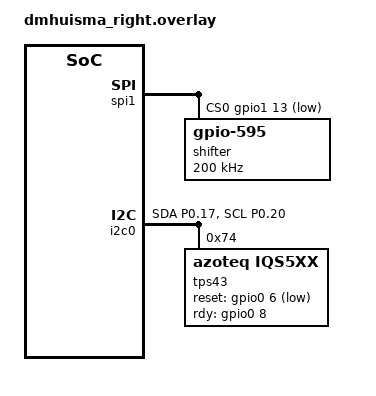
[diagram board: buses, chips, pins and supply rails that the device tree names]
#include "dmhuisma.dtsi"

&default_transform { // Offset of 8 because the left side has 8 columns
    col-offset = <8>;
};

/ {

    kscan0: kscan_composite {
        wakeup-source;
        // matrix driver
        matrix {
            kscan = <&kscan1>;
        };
    };

    kscan1: kscan1 {
        status = "okay";

        col-gpios
            = <&shifter 0   (GPIO_ACTIVE_HIGH)>
            , <&gpio1   6   (GPIO_ACTIVE_HIGH)>         // so we can wake from deep sleep
            , <&shifter 2   (GPIO_ACTIVE_HIGH)>
            , <&shifter 3   (GPIO_ACTIVE_HIGH)>
            , <&shifter 4   (GPIO_ACTIVE_HIGH)>
            , <&shifter 5   (GPIO_ACTIVE_HIGH)>
            , <&shifter 6   (GPIO_ACTIVE_HIGH)>
            , <&shifter 7   (GPIO_ACTIVE_HIGH)>
            ;
    };

    tps43_input: tps43_input {
        compatible = "zmk,input-listener";
        device = <&tps43>;
    };
};

&pinctrl {
    // spi for the shift register
    spi1_default: spi1_default {
        group1 {
            psels = <NRF_PSEL(SPIM_SCK, 0, 24)>,
                    <NRF_PSEL(SPIM_MOSI, 1, 0)>;
        };
    };
    spi1_sleep: spi1_sleep {
        group1 {
            psels = <NRF_PSEL(SPIM_SCK, 0, 24)>,
                    <NRF_PSEL(SPIM_MOSI, 1, 0)>;
            low-power-enable;
        };
    };

    i2c0_default: i2c0_default {
        group1 {
            psels = <NRF_PSEL(TWIM_SDA, 0, 17)>,
                    <NRF_PSEL(TWIM_SCL, 0, 20)>;
            // bias-pull-up; // External 4.7k resistors recommended
        };
    };

    i2c0_sleep: i2c0_sleep {
        group1 {
            psels = <NRF_PSEL(TWIM_SDA, 0, 17)>,
                    <NRF_PSEL(TWIM_SCL, 0, 20)>;
            low-power-enable;
        };
    };
};

&spi1 {
    status = "okay";
    cs-gpios = <&gpio1 13 GPIO_ACTIVE_LOW>;

    shifter: 595@0 {
        compatible = "zmk,gpio-595";
        status = "okay";
        gpio-controller;
        spi-max-frequency = <200000>;
        reg = <0>;
        #gpio-cells = <2>;
        ngpios = <8>;
    };
};

&i2c0 {

    status = "okay";
    pinctrl-0 = <&i2c0_default>;
    pinctrl-1 = <&i2c0_sleep>;
    pinctrl-names = "default", "sleep";

    tps43: iqs5xx@74 {
        status = "okay";
        compatible = "azoteq,iqs5xx";
        reg = <0x74>;

        reset-gpios = <&gpio0 6 GPIO_ACTIVE_LOW>;
        rdy-gpios = <&gpio0 8 GPIO_ACTIVE_HIGH>;

        /*
         * Potentially non-exhaustive list of configuration options.
         * See: dts/bindings/input/azoteq,iqs5xx-common.yaml for a full list.
         */
        one-finger-tap;
        press-and-hold;
        press-and-hold-time = <250>;
        two-finger-tap;

        scroll;
        natural-scroll-y;
        natural-scroll-x;

        bottom-beta = <5>;
        stationary-threshold = <5>;

        switch-xy;
    };
};
